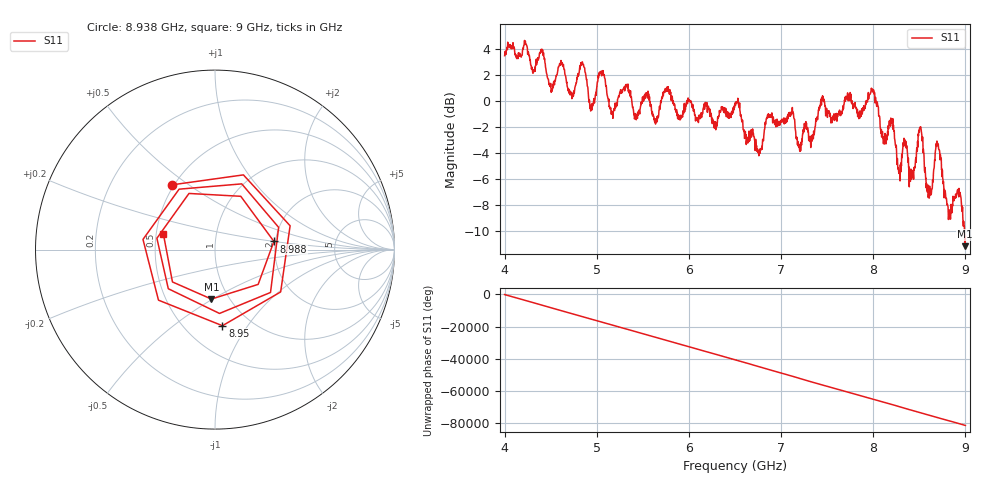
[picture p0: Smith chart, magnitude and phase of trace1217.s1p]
! Created with skrf 1.8.0 (http://scikit-rf.org).
# Hz S RI R 50.0
!freq ReS11 ImS11
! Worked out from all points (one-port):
!   1601 points, 4 GHz to 9 GHz, reference 50 ohm
!   lowest |S11| = -11.2 dB at 8.994 GHz (marker M1), VSWR 1.76, Z = 41.4 - j24.7 ohm
!   |S11| at or under -10 dB: 8.989993 GHz to end of sweep
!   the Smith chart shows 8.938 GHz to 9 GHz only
!   S11 on the Smith chart (normalised r, x): 8.938 GHz: 0.49, +0.43; 8.95 GHz: 0.74, -0.77; 8.988 GHz: 1.96, +0.20; 9 GHz: 0.55, +0.11
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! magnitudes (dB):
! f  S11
! 4 GHz  3.5
! 4.625 GHz  3.0
! 4.731 GHz  0.2
! 4.847 GHz  2.9
! 4.941 GHz  -0.5
! 5.047 GHz  2.3
! 5.159 GHz  -1.0
! 5.25 GHz  0.7
! 5.875 GHz  -0.9
! 6.5 GHz  -0.1
! 6.762 GHz  -3.9
! 6.862 GHz  -1.0
! 7.125 GHz  -0.9
! 7.203 GHz  -3.9
! 7.75 GHz  0.7
! 7.991 GHz  0.9
! 8.281 GHz  -5.4
! 8.375 GHz  -4.4
! 8.422 GHz  -5.3
! 8.512 GHz  -2.0
! 8.606 GHz  -7.5
! 8.697 GHz  -3.2
! 8.816 GHz  -9.1
! 8.938 GHz  -7.3
! 8.95 GHz  -7.4
! 8.988 GHz  -9.6
! 8.994 GHz  -11.2
! 9 GHz  -10.4
